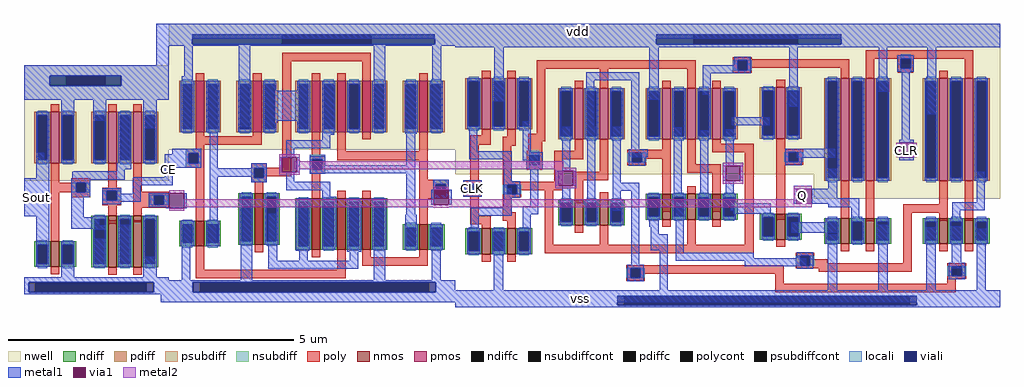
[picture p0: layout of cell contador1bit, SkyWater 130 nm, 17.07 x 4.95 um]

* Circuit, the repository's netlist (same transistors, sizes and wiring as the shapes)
* NGSPICE file created from contador1bit.ext - technology: sky130A

.subckt sky130_fd_pr__nfet_01v8_P8KVP3 VSUBS a_n15_n116# a_n73_n90# a_15_n90#
X0 a_15_n90# a_n15_n116# a_n73_n90# VSUBS sky130_fd_pr__nfet_01v8 ad=2.61e+11p pd=2.38e+06u as=2.61e+11p ps=2.38e+06u w=900000u l=150000u
.ends

.subckt sky130_fd_pr__pfet_01v8_5AYHFE VSUBS a_n15_n116# a_n73_n90# w_n109_n152# a_15_n90#
X0 a_15_n90# a_n15_n116# a_n73_n90# w_n109_n152# sky130_fd_pr__pfet_01v8 ad=2.61e+11p pd=2.38e+06u as=2.61e+11p ps=2.38e+06u w=900000u l=150000u
.ends

.subckt sky130_fd_pr__nfet_01v8_J836M4 VSUBS a_n73_n45# a_n15_n71# a_15_n45#
X0 a_15_n45# a_n15_n71# a_n73_n45# VSUBS sky130_fd_pr__nfet_01v8 ad=1.305e+11p pd=1.48e+06u as=1.305e+11p ps=1.48e+06u w=450000u l=150000u
.ends

.subckt xor in1 in2 out vss vdd
Xsky130_fd_pr__nfet_01v8_P8KVP3_0 vss a_n66_267# vss m1_n6_n35# sky130_fd_pr__nfet_01v8_P8KVP3
Xsky130_fd_pr__nfet_01v8_P8KVP3_1 vss a_138_297# m1_n6_n35# out sky130_fd_pr__nfet_01v8_P8KVP3
Xsky130_fd_pr__nfet_01v8_P8KVP3_2 vss in2 out m1_n6_n35# sky130_fd_pr__nfet_01v8_P8KVP3
Xsky130_fd_pr__nfet_01v8_P8KVP3_3 vss in1 m1_n6_n35# vss sky130_fd_pr__nfet_01v8_P8KVP3
Xsky130_fd_pr__pfet_01v8_5AYHFE_0 vss in2 vdd vdd m1_n21_452# sky130_fd_pr__pfet_01v8_5AYHFE
Xsky130_fd_pr__pfet_01v8_5AYHFE_1 vss a_138_297# m1_n21_452# vdd out sky130_fd_pr__pfet_01v8_5AYHFE
Xsky130_fd_pr__pfet_01v8_5AYHFE_2 vss in1 out vdd sky130_fd_pr__pfet_01v8_5AYHFE_2/a_15_n90#
+ sky130_fd_pr__pfet_01v8_5AYHFE
Xsky130_fd_pr__pfet_01v8_5AYHFE_3 vss a_n66_267# sky130_fd_pr__pfet_01v8_5AYHFE_2/a_15_n90#
+ vdd vdd sky130_fd_pr__pfet_01v8_5AYHFE
Xsky130_fd_pr__pfet_01v8_5AYHFE_4 vss in2 vdd vdd a_n66_267# sky130_fd_pr__pfet_01v8_5AYHFE
Xsky130_fd_pr__pfet_01v8_5AYHFE_5 vss in1 a_138_297# vdd vdd sky130_fd_pr__pfet_01v8_5AYHFE
Xsky130_fd_pr__nfet_01v8_J836M4_0 vss vss in2 a_n66_267# sky130_fd_pr__nfet_01v8_J836M4
Xsky130_fd_pr__nfet_01v8_J836M4_1 vss a_138_297# in1 vss sky130_fd_pr__nfet_01v8_J836M4
.ends

.subckt sky130_fd_pr__pfet_01v8_5CNMEE VSUBS a_15_n180# w_n109_n242# a_n73_n180# a_n15_n206#
X0 a_15_n180# a_n15_n206# a_n73_n180# w_n109_n242# sky130_fd_pr__pfet_01v8 ad=5.22e+11p pd=4.18e+06u as=5.22e+11p ps=4.18e+06u w=1.8e+06u l=150000u
.ends

.subckt dffc2 Q CLK CLR vss vdd D
Xsky130_fd_pr__pfet_01v8_5CNMEE_0 vss sky130_fd_pr__pfet_01v8_5CNMEE_0/a_15_n180#
+ vdd Q a_14_412# sky130_fd_pr__pfet_01v8_5CNMEE
Xsky130_fd_pr__pfet_01v8_5CNMEE_1 vss vdd vdd sky130_fd_pr__pfet_01v8_5CNMEE_0/a_15_n180#
+ CLR sky130_fd_pr__pfet_01v8_5CNMEE
Xsky130_fd_pr__pfet_01v8_5CNMEE_2 vss m1_n473_n88# vdd sky130_fd_pr__pfet_01v8_5CNMEE_3/a_15_n180#
+ CLR sky130_fd_pr__pfet_01v8_5CNMEE
Xsky130_fd_pr__pfet_01v8_5CNMEE_3 vss sky130_fd_pr__pfet_01v8_5CNMEE_3/a_15_n180#
+ vdd vdd a_232_n290# sky130_fd_pr__pfet_01v8_5CNMEE
Xsky130_fd_pr__pfet_01v8_5AYHFE_0 vss CLK a_n858_11# vdd vdd sky130_fd_pr__pfet_01v8_5AYHFE
Xsky130_fd_pr__pfet_01v8_5AYHFE_1 vss a_n858_11# vdd vdd a_n212_44# sky130_fd_pr__pfet_01v8_5AYHFE
Xsky130_fd_pr__pfet_01v8_5AYHFE_2 vss a_n212_44# a_n357_102# vdd m1_n473_n88# sky130_fd_pr__pfet_01v8_5AYHFE
Xsky130_fd_pr__pfet_01v8_5AYHFE_4 vss a_n858_11# a_14_412# vdd Qb sky130_fd_pr__pfet_01v8_5AYHFE
Xsky130_fd_pr__pfet_01v8_5AYHFE_3 vss a_n858_11# D vdd a_n357_102# sky130_fd_pr__pfet_01v8_5AYHFE
Xsky130_fd_pr__nfet_01v8_J836M4_0 vss vss a_14_412# Q sky130_fd_pr__nfet_01v8_J836M4
Xsky130_fd_pr__pfet_01v8_5AYHFE_5 vss a_n212_44# a_232_n290# vdd a_14_412# sky130_fd_pr__pfet_01v8_5AYHFE
Xsky130_fd_pr__nfet_01v8_J836M4_1 vss Q CLR vss sky130_fd_pr__nfet_01v8_J836M4
Xsky130_fd_pr__pfet_01v8_5AYHFE_6 vss a_n357_102# vdd vdd a_232_n290# sky130_fd_pr__pfet_01v8_5AYHFE
Xsky130_fd_pr__nfet_01v8_J836M4_2 vss m1_n473_n88# CLR vss sky130_fd_pr__nfet_01v8_J836M4
Xsky130_fd_pr__pfet_01v8_5AYHFE_7 vss Q Qb vdd vdd sky130_fd_pr__pfet_01v8_5AYHFE
Xsky130_fd_pr__nfet_01v8_J836M4_3 vss vss a_232_n290# m1_n473_n88# sky130_fd_pr__nfet_01v8_J836M4
Xsky130_fd_pr__nfet_01v8_J836M4_4 vss a_n858_11# CLK vss sky130_fd_pr__nfet_01v8_J836M4
Xsky130_fd_pr__nfet_01v8_J836M4_5 vss vss a_n858_11# a_n212_44# sky130_fd_pr__nfet_01v8_J836M4
Xsky130_fd_pr__nfet_01v8_J836M4_10 vss Qb Q vss sky130_fd_pr__nfet_01v8_J836M4
Xsky130_fd_pr__nfet_01v8_J836M4_7 vss a_n357_102# a_n858_11# m1_n473_n88# sky130_fd_pr__nfet_01v8_J836M4
Xsky130_fd_pr__nfet_01v8_J836M4_6 vss D a_n212_44# a_n357_102# sky130_fd_pr__nfet_01v8_J836M4
Xsky130_fd_pr__nfet_01v8_J836M4_11 vss a_14_412# a_n212_44# Qb sky130_fd_pr__nfet_01v8_J836M4
Xsky130_fd_pr__nfet_01v8_J836M4_8 vss vss a_n357_102# a_232_n290# sky130_fd_pr__nfet_01v8_J836M4
Xsky130_fd_pr__nfet_01v8_J836M4_9 vss a_232_n290# a_n858_11# a_14_412# sky130_fd_pr__nfet_01v8_J836M4
.ends

.subckt and va vb out vss vdd
Xsky130_fd_pr__nfet_01v8_P8KVP3_0 vss va vss m1_100_59# sky130_fd_pr__nfet_01v8_P8KVP3
Xsky130_fd_pr__nfet_01v8_P8KVP3_1 vss vb m1_100_59# m1_182_59# sky130_fd_pr__nfet_01v8_P8KVP3
Xsky130_fd_pr__pfet_01v8_5AYHFE_0 vss va vdd vdd m1_182_59# sky130_fd_pr__pfet_01v8_5AYHFE
Xsky130_fd_pr__pfet_01v8_5AYHFE_1 vss vb m1_182_59# vdd vdd sky130_fd_pr__pfet_01v8_5AYHFE
Xsky130_fd_pr__pfet_01v8_5AYHFE_2 vss m1_182_59# vdd vdd out sky130_fd_pr__pfet_01v8_5AYHFE
Xsky130_fd_pr__nfet_01v8_J836M4_0 vss vss m1_182_59# out sky130_fd_pr__nfet_01v8_J836M4
.ends


* Top level circuit contador1bit

Xxor_0 Q CE xor_0/out vss vdd xor
Xdffc2_0 Q CLK CLR vss vdd xor_0/out dffc2
Xand_0 Q CE Sout vss vdd and
.end

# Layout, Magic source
magic
tech sky130A
magscale 1 2
<< metal1 >>
rect 602 971 3554 1022
rect 602 875 647 971
rect 140 349 228 483
rect 632 458 660 566
rect 638 378 648 430
rect 700 378 710 430
rect 1564 390 1574 442
rect 1626 390 1636 442
rect 1676 417 1742 475
rect 646 77 647 78
rect 618 76 1648 77
rect 618 49 3524 76
<< via1 >>
rect 648 378 700 430
rect 1574 390 1626 442
<< metal2 >>
rect 3201 555 3253 607
rect 1086 514 2027 542
rect 1999 460 2027 514
rect 1574 442 1626 452
rect 648 430 700 440
rect 700 390 1574 409
rect 2834 409 2894 451
rect 1626 390 2895 409
rect 700 381 2895 390
rect 1574 380 1626 381
rect 648 368 700 378
use xor_lafe  xor_lafe_0
transform 1 0 1001 0 1 201
box -355 -124 647 821
use and_lafe  and_lafe_0
transform -1 0 610 0 1 113
box -36 -36 470 764
use dffc2  dffc2_0
transform 1 0 2672 0 1 457
box -1024 -425 882 565
<< labels >>
rlabel metal1 632 458 660 566 1 CE
rlabel metal1 1676 417 1742 475 1 CLK
rlabel metal2 3201 555 3253 607 1 CLR
rlabel metal1 602 971 3554 1022 1 vdd
rlabel metal1 646 49 3524 76 1 vss
rlabel metal2 2834 393 2894 451 1 Q
rlabel metal1 140 349 228 483 1 Sout
<< end >>

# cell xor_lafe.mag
magic
tech sky130A
magscale 1 2
<< nwell >>
rect -354 820 647 821
rect -355 384 647 820
rect -355 381 -354 384
rect -342 381 647 384
<< psubdiff >>
rect -269 -117 -245 -83
rect 555 -117 579 -83
<< nsubdiff >>
rect -273 751 43 785
rect 353 751 576 785
<< psubdiffcont >>
rect -245 -117 555 -83
<< nsubdiffcont >>
rect 43 751 353 785
<< poly >>
rect 43 691 352 721
rect -260 428 -230 649
rect -60 428 -30 649
rect -260 398 -30 428
rect -260 384 -230 398
rect -295 368 -230 384
rect -295 334 -285 368
rect -251 334 -230 368
rect -295 318 -230 334
rect -260 -39 -230 318
rect -66 318 -12 333
rect 43 318 73 691
rect 146 363 176 649
rect 234 375 264 649
rect 322 417 352 691
rect 522 375 552 649
rect -66 317 73 318
rect -66 283 -56 317
rect -22 288 73 317
rect 138 347 192 363
rect 138 313 148 347
rect 182 313 192 347
rect 234 345 552 375
rect 138 297 192 313
rect -22 283 -12 288
rect -66 267 -12 283
rect -54 23 -24 267
rect 146 5 176 297
rect 522 276 552 345
rect 522 260 624 276
rect 234 -39 264 237
rect 322 5 352 237
rect 522 226 580 260
rect 614 226 624 260
rect 522 210 624 226
rect 522 5 552 210
rect 322 -25 552 5
rect -260 -69 264 -39
<< polycont >>
rect -285 334 -251 368
rect -56 283 -22 317
rect 148 313 182 347
rect 580 226 614 260
<< locali >>
rect -295 368 -241 384
rect -295 334 -285 368
rect -251 334 -241 368
rect -295 318 -241 334
rect 138 347 192 363
rect -66 317 -12 333
rect -66 283 -56 317
rect -22 283 -12 317
rect 138 313 148 347
rect 182 313 192 347
rect 138 297 192 313
rect -66 267 -12 283
rect 570 260 624 276
rect 570 226 580 260
rect 614 226 624 260
rect 570 210 624 226
<< viali >>
rect -273 751 43 785
rect 43 751 353 785
rect 353 751 576 785
rect -285 334 -251 368
rect -56 283 -22 317
rect 148 313 182 347
rect 580 226 614 260
rect -270 -117 -245 -83
rect -245 -117 555 -83
rect 555 -117 580 -83
rect -270 -118 580 -117
<< metal1 >>
rect -354 785 647 821
rect -354 751 -273 785
rect 576 751 647 785
rect -354 745 647 751
rect -301 638 -270 745
rect -309 559 -270 638
rect -109 624 -69 745
rect -109 611 -68 624
rect -309 452 -271 559
rect -220 452 -180 611
rect -108 459 -68 611
rect -21 587 19 617
rect 99 587 139 619
rect -21 483 139 587
rect -21 475 24 483
rect 95 475 139 483
rect 187 481 227 621
rect 362 617 402 745
rect -21 452 19 475
rect 99 454 139 475
rect 184 456 227 481
rect 361 608 402 617
rect -223 446 -180 452
rect -223 445 -195 446
rect -223 443 -189 445
rect 184 443 224 456
rect 361 452 401 608
rect 471 485 511 622
rect 567 616 598 745
rect 471 457 512 485
rect -342 368 -241 384
rect -342 334 -285 368
rect -251 334 -241 368
rect -342 318 -241 334
rect -212 316 -184 443
rect 182 433 224 443
rect 472 437 512 457
rect 564 451 604 616
rect 182 415 210 433
rect 56 387 210 415
rect 56 355 84 387
rect -66 317 -12 333
rect -66 316 -56 317
rect -212 287 -56 316
rect -310 46 -274 135
rect -212 133 -184 287
rect -66 283 -56 287
rect -22 283 -12 317
rect 31 303 41 355
rect 93 303 103 355
rect 138 347 192 359
rect 138 313 148 347
rect 182 327 192 347
rect 476 327 507 437
rect 182 313 507 327
rect -66 267 -12 283
rect 56 269 84 303
rect 138 299 507 313
rect 138 297 192 299
rect 56 239 210 269
rect -217 132 -186 133
rect -310 -76 -279 46
rect -222 45 -186 132
rect -107 77 -61 227
rect 182 217 210 239
rect 182 211 231 217
rect -103 -76 -63 77
rect -6 -7 24 157
rect 89 27 137 202
rect 183 42 231 211
rect 101 -7 131 27
rect 270 25 318 200
rect 358 32 406 207
rect 476 154 507 299
rect 570 260 625 276
rect 570 226 580 260
rect 614 226 625 260
rect 570 210 625 226
rect 473 33 513 154
rect 278 -7 308 25
rect -6 -35 308 -7
rect 362 -76 402 32
rect 561 30 601 113
rect 565 -76 596 30
rect -355 -83 647 -76
rect -355 -118 -270 -83
rect 580 -118 647 -83
rect -355 -124 647 -118
<< via1 >>
rect 41 303 93 355
<< metal2 >>
rect 31 355 103 365
rect 31 303 41 355
rect 93 303 103 355
rect 31 293 103 303
use sky130_fd_pr__nfet_01v8_J836M4  sky130_fd_pr__nfet_01v8_J836M4_0
transform 1 0 -245 0 1 88
box -73 -71 73 71
use sky130_fd_pr__nfet_01v8_P8KVP3  sky130_fd_pr__nfet_01v8_P8KVP3_0
transform 1 0 -39 0 1 139
box -73 -116 73 116
use sky130_fd_pr__nfet_01v8_P8KVP3  sky130_fd_pr__nfet_01v8_P8KVP3_1
transform 1 0 161 0 1 121
box -73 -116 73 116
use sky130_fd_pr__nfet_01v8_P8KVP3  sky130_fd_pr__nfet_01v8_P8KVP3_2
transform 1 0 249 0 1 121
box -73 -116 73 116
use sky130_fd_pr__nfet_01v8_P8KVP3  sky130_fd_pr__nfet_01v8_P8KVP3_3
transform 1 0 337 0 1 121
box -73 -116 73 116
use sky130_fd_pr__nfet_01v8_J836M4  sky130_fd_pr__nfet_01v8_J836M4_1
transform 1 0 537 0 1 76
box -73 -71 73 71
use sky130_fd_pr__pfet_01v8_5AYHFE  sky130_fd_pr__pfet_01v8_5AYHFE_4
transform 1 0 -245 0 1 533
box -109 -152 109 152
use sky130_fd_pr__pfet_01v8_5AYHFE  sky130_fd_pr__pfet_01v8_5AYHFE_0
transform 1 0 -45 0 1 533
box -109 -152 109 152
use sky130_fd_pr__pfet_01v8_5AYHFE  sky130_fd_pr__pfet_01v8_5AYHFE_2
transform 1 0 249 0 1 533
box -109 -152 109 152
use sky130_fd_pr__pfet_01v8_5AYHFE  sky130_fd_pr__pfet_01v8_5AYHFE_1
transform 1 0 161 0 1 533
box -109 -152 109 152
use sky130_fd_pr__pfet_01v8_5AYHFE  sky130_fd_pr__pfet_01v8_5AYHFE_3
transform 1 0 337 0 1 533
box -109 -152 109 152
use sky130_fd_pr__pfet_01v8_5AYHFE  sky130_fd_pr__pfet_01v8_5AYHFE_5
transform 1 0 537 0 1 533
box -109 -152 109 152
<< labels >>
rlabel metal1 -354 -124 646 -76 1 vss
rlabel nwell -354 745 646 821 1 vdd
rlabel metal2 31 293 103 365 1 out
rlabel metal1 570 210 625 276 1 in1
rlabel metal1 -342 318 -241 384 1 in2
<< end >>

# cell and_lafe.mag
magic
tech sky130A
magscale 1 2
<< nwell >>
rect -36 663 470 764
<< psubdiff >>
rect 18 -30 42 4
rect 430 -30 454 4
<< nsubdiff >>
rect 131 694 186 728
rect 322 694 380 728
<< psubdiffcont >>
rect 42 -30 430 4
<< nsubdiffcont >>
rect 186 694 322 728
<< poly >>
rect 58 322 88 396
rect 146 336 176 402
rect 238 354 304 370
rect 346 354 376 398
rect -36 310 88 322
rect -36 276 -19 310
rect 15 276 88 310
rect -36 266 88 276
rect 130 326 196 336
rect 130 292 146 326
rect 180 292 196 326
rect 238 320 254 354
rect 288 320 376 354
rect 238 303 304 320
rect 130 275 196 292
rect 58 244 88 266
rect 146 245 176 275
rect 58 215 88 223
rect 146 211 176 223
rect 346 174 376 320
<< polycont >>
rect -19 276 15 310
rect 146 292 180 326
rect 254 320 288 354
<< locali >>
rect -35 276 -19 310
rect 15 276 31 310
rect 130 292 146 326
rect 180 292 196 326
rect 238 320 254 354
rect 288 320 304 354
<< viali >>
rect 130 694 186 728
rect 186 694 322 728
rect 322 694 380 728
rect 130 693 380 694
rect -19 276 15 310
rect 146 292 180 326
rect 254 320 288 354
rect 17 4 454 5
rect 17 -30 42 4
rect 42 -30 430 4
rect 430 -30 454 4
<< metal1 >>
rect -36 728 470 764
rect -36 693 130 728
rect 380 693 470 728
rect -36 644 470 693
rect 6 544 52 644
rect 100 446 134 590
rect 182 571 228 644
rect 294 600 340 644
rect 100 434 140 446
rect 94 422 140 434
rect 400 428 428 459
rect 94 408 145 422
rect 95 401 145 408
rect 117 394 145 401
rect 117 393 296 394
rect -36 370 88 373
rect 117 370 302 393
rect 382 370 428 424
rect -36 345 89 370
rect 117 365 304 370
rect -36 310 33 317
rect -36 276 -19 310
rect 15 276 33 310
rect 61 316 89 345
rect 238 354 304 365
rect 130 326 196 334
rect 130 316 146 326
rect 61 292 146 316
rect 180 292 196 326
rect 238 320 254 354
rect 288 320 304 354
rect 238 306 304 320
rect 242 303 304 306
rect 61 288 196 292
rect 130 278 196 288
rect -36 268 33 276
rect 206 233 228 236
rect 261 233 304 303
rect 100 157 134 206
rect 182 205 184 213
rect 206 205 304 233
rect 189 192 304 205
rect 382 236 470 370
rect 189 189 228 192
rect 6 23 52 95
rect 100 59 140 157
rect 182 59 228 157
rect 382 147 428 236
rect 294 23 340 63
rect -36 5 470 23
rect -36 -30 17 5
rect 454 -30 470 5
rect -36 -36 470 -30
use sky130_fd_pr__pfet_01v8_5AYHFE  sky130_fd_pr__pfet_01v8_5AYHFE_1
transform 1 0 161 0 1 512
box -109 -152 109 152
use sky130_fd_pr__pfet_01v8_5AYHFE  sky130_fd_pr__pfet_01v8_5AYHFE_0
transform 1 0 73 0 1 512
box -109 -152 109 152
use sky130_fd_pr__pfet_01v8_5AYHFE  sky130_fd_pr__pfet_01v8_5AYHFE_2
transform 1 0 361 0 1 512
box -109 -152 109 152
use sky130_fd_pr__nfet_01v8_P8KVP3  sky130_fd_pr__nfet_01v8_P8KVP3_1
transform 1 0 161 0 1 148
box -73 -116 73 116
use sky130_fd_pr__nfet_01v8_P8KVP3  sky130_fd_pr__nfet_01v8_P8KVP3_0
transform 1 0 73 0 1 148
box -73 -116 73 116
use sky130_fd_pr__nfet_01v8_J836M4  sky130_fd_pr__nfet_01v8_J836M4_0
transform 1 0 361 0 1 104
box -73 -71 73 71
<< labels >>
rlabel metal1 -36 345 88 373 1 vb
rlabel metal1 -36 268 -19 317 1 va
rlabel nwell 130 693 380 728 1 vdd
rlabel metal1 17 -30 454 5 1 vss
rlabel metal1 382 236 470 370 1 out
<< end >>

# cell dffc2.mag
magic
tech sky130A
magscale 1 2
<< nwell >>
rect -1024 198 882 565
rect -1024 179 -817 198
rect -814 196 882 198
rect -1024 170 -858 179
rect -839 170 -817 179
rect -1024 168 -816 170
rect -811 168 882 196
rect -1024 40 882 168
rect 535 -46 882 40
<< psubdiff >>
rect -457 -419 -433 -385
rect 567 -419 591 -385
<< nsubdiff >>
rect -321 495 -189 529
rect 175 495 327 529
<< psubdiffcont >>
rect -433 -419 567 -385
<< nsubdiffcont >>
rect -189 495 175 529
<< poly >>
rect 413 444 788 474
rect -738 409 -182 439
rect 14 412 355 442
rect -738 181 -708 409
rect -518 367 -488 409
rect -212 367 -182 409
rect 325 402 355 412
rect 413 402 443 444
rect 525 426 579 444
rect 758 402 788 444
rect -971 143 -900 176
rect -971 -105 -941 143
rect -858 139 -812 170
rect -768 154 -708 181
rect -858 11 -828 139
rect -768 117 -720 154
rect -94 135 20 146
rect -606 121 -576 135
rect -768 116 -738 117
rect -678 91 -576 121
rect -678 13 -648 91
rect -518 49 -488 135
rect -300 125 -270 135
rect -357 102 -270 125
rect -355 94 -270 102
rect -846 -30 -828 11
rect -824 -30 -812 13
rect -796 -17 -648 13
rect -606 19 -488 49
rect -838 -31 -834 -30
rect -822 -31 -812 -30
rect -857 -41 -843 -31
rect -839 -41 -827 -31
rect -857 -93 -827 -41
rect -971 -135 -900 -105
rect -857 -124 -812 -93
rect -827 -126 -812 -124
rect -930 -137 -900 -135
rect -711 -207 -681 -17
rect -606 -62 -576 19
rect -300 -91 -270 94
rect -212 74 -182 135
rect -124 116 20 135
rect -212 44 -94 74
rect -124 -91 -94 44
rect -518 -207 -488 -165
rect -212 -207 -182 -145
rect -10 -207 20 116
rect 100 -119 130 138
rect 325 -113 355 -10
rect 413 -125 443 -10
rect 670 -66 700 -10
rect 544 -96 700 -66
rect -711 -237 20 -207
rect 232 -272 278 -258
rect 544 -272 574 -96
rect 670 -123 700 -96
rect 758 -123 788 -10
rect -364 -309 125 -279
rect 232 -290 574 -272
rect 248 -302 574 -290
rect 95 -344 125 -309
rect 698 -324 729 -272
rect 698 -326 732 -324
rect 698 -344 728 -326
rect 95 -374 728 -344
<< viali >>
rect -321 495 -189 529
rect -189 495 175 529
rect 175 495 327 529
rect -457 -419 -433 -385
rect -433 -419 567 -385
rect 567 -419 591 -385
<< metal1 >>
rect -1024 529 882 565
rect -1024 495 -321 529
rect 327 495 882 529
rect -1024 484 882 495
rect -887 295 -854 484
rect -565 369 -380 397
rect -974 119 -946 196
rect -974 91 -826 119
rect -996 -40 -930 18
rect -854 15 -826 91
rect -788 116 -760 224
rect -565 205 -537 369
rect -788 88 -734 116
rect -854 -78 -826 -9
rect -762 -73 -734 88
rect -649 52 -621 205
rect -565 169 -534 205
rect -673 0 -663 52
rect -611 0 -601 52
rect -649 -59 -621 0
rect -562 -59 -534 169
rect -473 9 -445 205
rect -408 126 -380 369
rect -345 300 -312 484
rect -158 408 -48 420
rect -158 392 -34 408
rect -158 317 -130 392
rect 145 344 174 484
rect 145 275 172 344
rect 458 328 488 484
rect -56 210 77 238
rect -408 98 -351 126
rect -473 -19 -380 9
rect -970 -106 -826 -78
rect -788 -101 -734 -73
rect -473 -88 -445 -19
rect -970 -150 -942 -106
rect -788 -150 -760 -101
rect -889 -366 -856 -162
rect -408 -283 -380 -19
rect -259 -41 -231 203
rect -167 -51 -139 193
rect -78 69 -50 197
rect 538 160 566 404
rect 627 249 659 484
rect 529 150 581 160
rect 171 97 306 128
rect 529 88 581 98
rect -88 17 -78 69
rect -26 17 -16 69
rect -78 -47 -50 17
rect -340 -118 -312 -109
rect -345 -145 -312 -118
rect -340 -171 -312 -145
rect -340 -226 -281 -171
rect -309 -366 -281 -226
rect -253 -235 -225 -60
rect -60 -62 -36 -60
rect -60 -88 80 -62
rect 161 -63 171 -11
rect 223 -12 230 -11
rect 282 -12 313 59
rect 223 -45 313 -12
rect 223 -63 390 -45
rect 801 -58 829 49
rect 282 -76 390 -63
rect -51 -99 80 -88
rect 361 -114 390 -76
rect 715 -86 829 -58
rect 715 -116 743 -86
rect 151 -166 313 -128
rect -253 -254 20 -235
rect -253 -263 205 -254
rect -10 -282 205 -263
rect 280 -366 313 -171
rect 456 -366 489 -138
rect 624 -366 657 -146
rect 713 -289 746 -143
rect 800 -366 833 -152
rect -1024 -385 882 -366
rect -1024 -419 -457 -385
rect 591 -419 882 -385
rect -1024 -425 882 -419
<< via1 >>
rect -663 0 -611 52
rect 529 98 581 150
rect -78 17 -26 69
rect 171 -63 223 -11
<< metal2 >>
rect 519 98 529 150
rect 581 98 591 150
rect -88 69 -16 79
rect -673 52 -601 62
rect -673 0 -663 52
rect -611 0 -601 52
rect -88 17 -78 69
rect -26 17 -16 69
rect -88 7 -16 17
rect -673 -10 -601 0
rect 161 -11 223 -1
rect 161 -63 171 -11
rect 161 -73 223 -63
use sky130_fd_pr__nfet_01v8_J836M4  sky130_fd_pr__nfet_01v8_J836M4_5
transform 1 0 -827 0 1 -195
box -73 -71 73 71
use sky130_fd_pr__nfet_01v8_J836M4  sky130_fd_pr__nfet_01v8_J836M4_4
transform 1 0 -915 0 1 -195
box -73 -71 73 71
use sky130_fd_pr__pfet_01v8_5AYHFE  sky130_fd_pr__pfet_01v8_5AYHFE_0
transform 1 0 -915 0 1 286
box -109 -152 109 152
use sky130_fd_pr__pfet_01v8_5AYHFE  sky130_fd_pr__pfet_01v8_5AYHFE_1
transform 1 0 -827 0 1 286
box -109 -152 109 152
use contacto  contacto_0
transform 1 0 -996 0 1 -44
box 0 4 66 62
use contacto  contacto_1
transform 1 0 -858 0 1 -47
box 0 4 66 62
use sky130_fd_pr__nfet_01v8_J836M4  sky130_fd_pr__nfet_01v8_J836M4_6
transform 1 0 -591 0 1 -94
box -73 -71 73 71
use sky130_fd_pr__pfet_01v8_5AYHFE  sky130_fd_pr__pfet_01v8_5AYHFE_3
transform 1 0 -591 0 1 251
box -109 -152 109 152
use sky130_fd_pr__pfet_01v8_5AYHFE  sky130_fd_pr__pfet_01v8_5AYHFE_2
transform 1 0 -503 0 1 251
box -109 -152 109 152
use contacto  contacto_2
transform 0 -1 -714 1 0 55
box 0 4 66 62
use sky130_fd_pr__nfet_01v8_J836M4  sky130_fd_pr__nfet_01v8_J836M4_7
transform 1 0 -503 0 1 -94
box -73 -71 73 71
use sky130_fd_pr__pfet_01v8_5AYHFE  sky130_fd_pr__pfet_01v8_5AYHFE_6
transform 1 0 -285 0 1 251
box -109 -152 109 152
use contacto  contacto_3
transform 1 0 -421 0 1 65
box 0 4 66 62
use contacto  contacto_9
transform -1 0 -360 0 -1 -273
box 0 4 66 62
use sky130_fd_pr__nfet_01v8_J836M4  sky130_fd_pr__nfet_01v8_J836M4_8
transform 1 0 -285 0 1 -74
box -73 -71 73 71
use sky130_fd_pr__nfet_01v8_J836M4  sky130_fd_pr__nfet_01v8_J836M4_11
transform 1 0 -109 0 1 -74
box -73 -71 73 71
use sky130_fd_pr__nfet_01v8_J836M4  sky130_fd_pr__nfet_01v8_J836M4_9
transform 1 0 -197 0 1 -74
box -73 -71 73 71
use sky130_fd_pr__pfet_01v8_5AYHFE  sky130_fd_pr__pfet_01v8_5AYHFE_5
transform 1 0 -197 0 1 251
box -109 -152 109 152
use sky130_fd_pr__pfet_01v8_5AYHFE  sky130_fd_pr__pfet_01v8_5AYHFE_4
transform 1 0 -109 0 1 251
box -109 -152 109 152
use sky130_fd_pr__nfet_01v8_J836M4  sky130_fd_pr__nfet_01v8_J836M4_10
transform 1 0 115 0 1 -144
box -73 -71 73 71
use sky130_fd_pr__pfet_01v8_5AYHFE  sky130_fd_pr__pfet_01v8_5AYHFE_7
transform 1 0 115 0 1 254
box -109 -152 109 152
use contacto  contacto_4
transform 1 0 -52 0 1 388
box 0 4 66 62
use sky130_fd_pr__nfet_01v8_J836M4  sky130_fd_pr__nfet_01v8_J836M4_0
transform 1 0 340 0 1 -159
box -73 -71 73 71
use sky130_fd_pr__pfet_01v8_5CNMEE  sky130_fd_pr__pfet_01v8_5CNMEE_0
transform 1 0 340 0 1 196
box -109 -242 109 242
use contacto  contacto_8
transform -1 0 233 0 -1 -230
box 0 4 66 62
use contacto  contacto_5
transform 1 0 127 0 1 67
box 0 4 66 62
use sky130_fd_pr__nfet_01v8_J836M4  sky130_fd_pr__nfet_01v8_J836M4_1
transform 1 0 428 0 1 -159
box -73 -71 73 71
use sky130_fd_pr__pfet_01v8_5CNMEE  sky130_fd_pr__pfet_01v8_5CNMEE_1
transform 1 0 428 0 1 196
box -109 -242 109 242
use sky130_fd_pr__nfet_01v8_J836M4  sky130_fd_pr__nfet_01v8_J836M4_2
transform 1 0 773 0 1 -159
box -73 -71 73 71
use sky130_fd_pr__nfet_01v8_J836M4  sky130_fd_pr__nfet_01v8_J836M4_3
transform 1 0 685 0 1 -159
box -73 -71 73 71
use sky130_fd_pr__pfet_01v8_5CNMEE  sky130_fd_pr__pfet_01v8_5CNMEE_3
transform 1 0 685 0 1 196
box -109 -242 109 242
use sky130_fd_pr__pfet_01v8_5CNMEE  sky130_fd_pr__pfet_01v8_5CNMEE_2
transform 1 0 773 0 1 196
box -109 -242 109 242
use contacto  contacto_6
transform 0 -1 585 1 0 394
box 0 4 66 62
use contacto  contacto_7
transform 1 0 698 0 1 -332
box 0 4 66 62
<< labels >>
rlabel metal1 -1024 529 882 565 1 vdd
rlabel metal1 -1024 -425 882 -384 1 vss
rlabel metal2 -673 -10 -601 62 1 D
rlabel metal2 161 -73 223 -1 1 Q
rlabel metal2 -88 7 -16 79 1 Qb
rlabel metal2 519 98 591 150 1 CLR
rlabel metal1 -996 -40 -930 18 1 CLK
<< end >>

# cell sky130_fd_pr__nfet_01v8_J836M4: kit device sky130_fd_pr__nfet_01v8, w 0.45 l 0.150 m 1 nf 1 diffcov 100 polycov 100 guard 0 glc 0 grc 0 gtc 0 gbc 0 tbcov 100 rlcov 100 topc 0 botc 0 poverlap 0 doverlap 1 lmin 0.15 wmin 0.42 compatible {sky130_fd_pr__nfet_01v8 sky130_fd_pr__nfet_01v8_lvt sky130_fd_bs_flash__special_sonosfet_star sky130_fd_pr__nfet_g5v0d10v5 sky130_fd_pr__nfet_05v0_nvt} full_metal 0 viasrc 100 viadrn 100 viagate 100 viagb 0 viagr 0 viagl 0 viagt 0

# cell sky130_fd_pr__pfet_01v8_5AYHFE: kit device sky130_fd_pr__pfet_01v8, w 0.9 l 0.15 m 1 nf 1 diffcov 100 polycov 100 guard 0 glc 0 grc 0 gtc 0 gbc 0 tbcov 100 rlcov 100 topc 0 botc 0 poverlap 0 doverlap 1 lmin 0.15 wmin 0.42 compatible {sky130_fd_pr__pfet_01v8 sky130_fd_pr__pfet_01v8_lvt sky130_fd_pr__pfet_01v8_hvt sky130_fd_pr__pfet_g5v0d10v5} full_metal 0 viasrc 100 viadrn 100 viagate 100 viagb 0 viagr 0 viagl 0 viagt 0

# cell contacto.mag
magic
tech sky130A
<< poly >>
rect 0 25 33 30
rect 0 8 8 25
rect 25 8 33 25
rect 0 3 33 8
<< polycont >>
rect 8 8 25 25
<< locali >>
rect 0 8 8 25
rect 25 8 33 25
<< viali >>
rect 8 8 25 25
<< metal1 >>
rect 2 25 31 31
rect 2 8 8 25
rect 25 8 31 25
rect 2 2 31 8
<< end >>

# cell sky130_fd_pr__pfet_01v8_5CNMEE: kit device sky130_fd_pr__pfet_01v8, w 1.8 l 0.15 m 1 nf 1 diffcov 100 polycov 100 guard 0 glc 0 grc 0 gtc 0 gbc 0 tbcov 100 rlcov 100 topc 0 botc 0 poverlap 0 doverlap 1 lmin 0.15 wmin 0.42 compatible {sky130_fd_pr__pfet_01v8 sky130_fd_pr__pfet_01v8_lvt sky130_fd_pr__pfet_01v8_hvt sky130_fd_pr__pfet_g5v0d10v5} full_metal 0 viasrc 100 viadrn 100 viagate 100 viagb 0 viagr 0 viagl 0 viagt 0

# cell sky130_fd_pr__nfet_01v8_P8KVP3: kit device sky130_fd_pr__nfet_01v8, w 0.9 l 0.150 m 1 nf 1 diffcov 100 polycov 100 guard 0 glc 0 grc 0 gtc 0 gbc 0 tbcov 100 rlcov 100 topc 0 botc 0 poverlap 0 doverlap 1 lmin 0.15 wmin 0.42 compatible {sky130_fd_pr__nfet_01v8 sky130_fd_pr__nfet_01v8_lvt sky130_fd_bs_flash__special_sonosfet_star sky130_fd_pr__nfet_g5v0d10v5 sky130_fd_pr__nfet_05v0_nvt} full_metal 0 viasrc 100 viadrn 100 viagate 100 viagb 0 viagr 0 viagl 0 viagt 0
